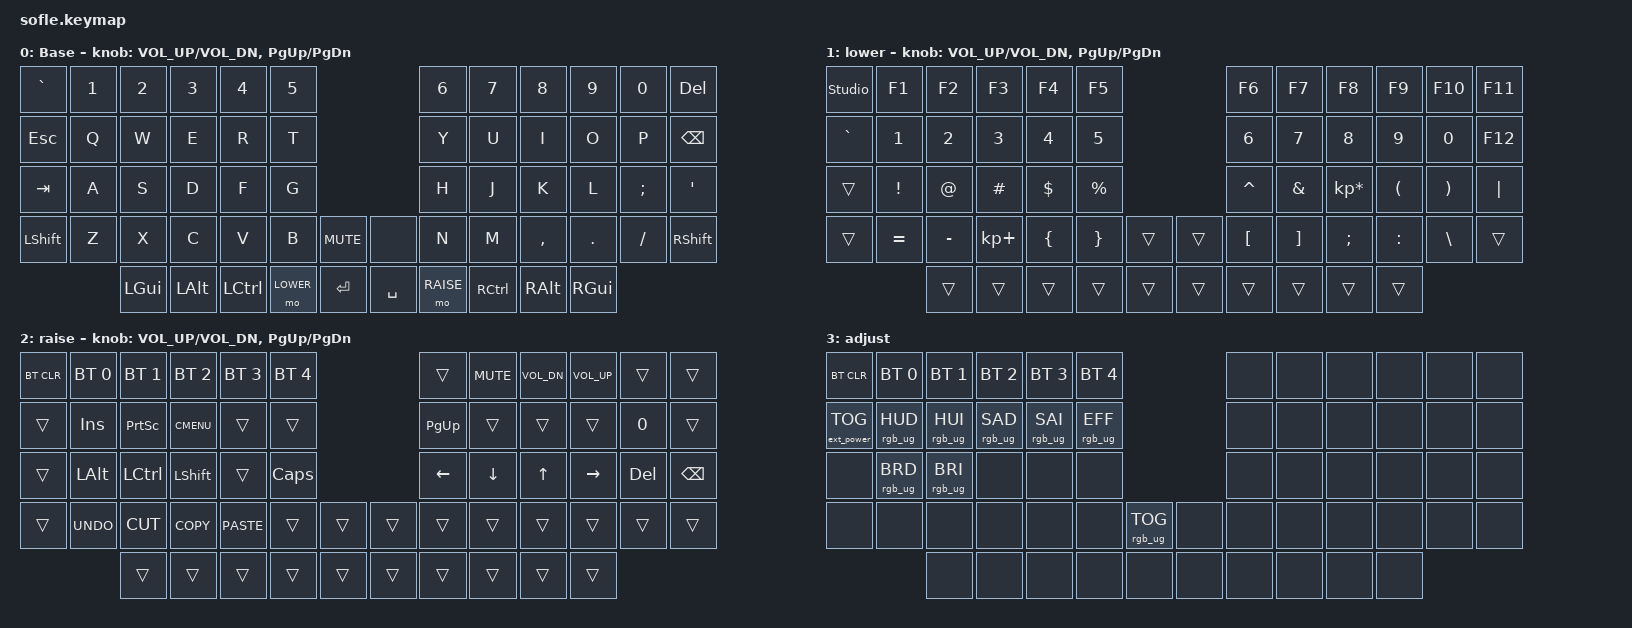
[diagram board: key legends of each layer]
/*
 * Copyright (c) 2020 The ZMK Contributors
 *
 * SPDX-License-Identifier: MIT
 */

#include <behaviors.dtsi>
#include <dt-bindings/zmk/bt.h>
#include <dt-bindings/zmk/ext_power.h>
#include <dt-bindings/zmk/keys.h>
#include <dt-bindings/zmk/rgb.h>

#define BASE 0
#define LOWER 1
#define RAISE 2
#define ADJUST 3

/ {
    // Activate ADJUST layer by pressing raise and lower

    conditional_layers {
        compatible = "zmk,conditional-layers";

        adjust_layer {
            if-layers = <LOWER RAISE>;
            then-layer = <ADJUST>;
        };
    };

    keymap {
        compatible = "zmk,keymap";

        default_layer {
            display-name = "Base";
            bindings = <
// ------------------------------------------------------------------------------------------------------------------------------------------------------------------------------
// |     `      |     1     |     2     |     3     |     4     |     5     |                           |     6     |     7     |     8     |     9     |     0     |    Del    |
     &kp GRAVE     &kp N1       &kp N2     &kp N3      &kp N4      &kp N5                                   &kp N6      &kp N7      &kp N8      &kp N9      &kp N0    &kp DELETE
// ------------------------------------------------------------------------------------------------------------------------------------------------------------------------------
// |    ESC     |     Q     |     W     |     E     |     R     |     T     |                           |     Y     |     U     |     I     |     O     |     P     |   BKSPC   |
     &kp ESC       &kp Q        &kp W       &kp E       &kp R       &kp T                                   &kp Y       &kp U       &kp I       &kp O       &kp P     &kp BACKSPACE
// ------------------------------------------------------------------------------------------------------------------------------------------------------------------------------
// |    TAB     |     A     |     S     |     D     |     F     |     G     |                           |     H     |     J     |     K     |     L     |     ;     |    '      |
     &kp TAB       &kp A        &kp S       &kp D       &kp F       &kp G                                   &kp H       &kp J       &kp K        &kp L     &kp SEMI    &kp SQT
// -------------------------------------------------------------------------------------------------------------------------------------------------------------------------------
// |    LSHFT   |     Z     |     X     |     C     |     V     |     B     |   MUTE    |  |            |     N     |     M     |     ,     |     .     |     /     |    RSHFT   |
     &kp LSHFT     &kp Z        &kp X       &kp C       &kp V       &kp B    &kp C_MUTE        &none        &kp N       &kp M     &kp COMMA    &kp DOT     &kp FSLH    &kp RSHFT
// -------------------------------------------------------------------------------------------------------------------------------------------------------------------------------
//                          |    GUI    |     ALT   |   CTRL   |    LOWER   |    RET    |  |   SPACE    |   RAISE   |    CTRL   |    ALT    |    GUI    |
                              &kp LGUI    &kp LALT    &kp LCTRL  &mo LOWER     &kp RET       &kp SPACE    &mo RAISE   &kp RCTRL   &kp RALT     &kp RGUI
            >;

            sensor-bindings = <&inc_dec_kp C_VOL_UP C_VOL_DN &inc_dec_kp PG_UP PG_DN>;
        };

        lower_layer {
            label = "lower";
            bindings = <

// -------------------------------------------------------------------------------------------------------------------------------------------------------------------------------
// |             |    F1    |    F2     |    F3    |    F4     |    F5     |                            |     F6    |     F7    |    F8     |    F9    |    F10     |    F11    |
   &studio_unlock   &kp F1     &kp F2      &kp F3     &kp F4      &kp F5                                   &kp F6      &kp F7      &kp F8      &kp F9      &kp F10     &kp F11
// -------------------------------------------------------------------------------------------------------------------------------------------------------------------------------
// |     `       |     1    |     2    |     3     |     4     |     5     |                            |     6     |     7     |     8     |     9    |     0     |    F12     |
     &kp GRAVE      &kp N1     &kp N2      &kp N3     &kp N4      &kp N5                                   &kp N6      &kp N7      &kp N8      &kp N9      &kp N0      &kp F12
// -------------------------------------------------------------------------------------------------------------------------------------------------------------------------------
// |             |     !    |     @    |     #     |     $     |     %     |                            |     ^     |     &     |     *     |    (     |     )     |      |     |
      &trans       &kp EXCL    &kp AT     &kp HASH   &kp DLLR    &kp PRCNT                                &kp CARET   &kp AMPS &kp KP_MULTIPLY &kp LPAR   &kp RPAR    &kp PIPE
// -------------------------------------------------------------------------------------------------------------------------------------------------------------------------------
// |             |     =    |     -    |     +     |     {     |     }     |            |  |            |     [     |     ]     |     ;     |     :    |     \     |            |
      &trans      &kp EQUAL   &kp MINUS &kp KP_PLUS  &kp LBRC    &kp RBRC      &trans          &trans     &kp LBKT    &kp RBKT     &kp SEMI   &kp COLON  &kp BSLH     &trans
// -------------------------------------------------------------------------------------------------------------------------------------------------------------------------------
//                          |          |           |           |           |            |  |            |           |           |           |          |
                               &trans     &trans      &trans      &trans       &trans          &trans       &trans      &trans      &trans    &trans
            >;

            sensor-bindings = <&inc_dec_kp C_VOL_UP C_VOL_DN &inc_dec_kp PG_UP PG_DN>;
        };

        raise_layer {
            label = "raise";

            // ------------------------------------------------------------------------------------------------------------
            // | BTCLR | BT1  | BT2  |  BT3  |  BT4  |  BT5 |                |      |      |       |      |       |       |
            // |       | INS  | PSCR | GUI   |       |      |                | PGUP |      |   ^   |      |       |       |
            // |       | ALT  | CTRL | SHIFT |       | CAPS |                | PGDN |   <- |   v   |  ->  |  DEL  | BKSPC |
            // |       | UNDO | CUT  | COPY  | PASTE |      |      |  |      |      |      |       |      |       |       |
            //                |      |       |       |      |      |  |      |      |      |       |      |

            bindings = <
&bt BT_CLR  &bt BT_SEL 0  &bt BT_SEL 1  &bt BT_SEL 2  &bt BT_SEL 3  &bt BT_SEL 4                    &trans     &kp C_MUTE    &kp C_VOL_DN  &kp C_VOL_UP     &trans   &trans
&trans      &kp INS       &kp PSCRN     &kp K_CMENU   &trans        &trans                          &kp PG_UP  &trans    &trans    &trans     &kp N0   &trans
&trans      &kp LALT      &kp LCTRL     &kp LSHFT     &trans        &kp CLCK                        &kp LEFT   &kp DOWN  &kp UP   &kp RIGHT  &kp DEL  &kp BSPC
&trans      &kp K_UNDO    &kp K_CUT     &kp K_COPY    &kp K_PASTE   &trans        &trans    &trans  &trans     &trans    &trans    &trans     &trans   &trans
                          &trans        &trans        &trans        &trans        &trans    &trans  &trans     &trans    &trans    &trans
            >;

            sensor-bindings = <&inc_dec_kp C_VOL_UP C_VOL_DN &inc_dec_kp PG_UP PG_DN>;
        };

        adjust_layer {
            // ----------------------------------------------------------------------------------------------------------------------------
            // | BTCLR  |  BT1    |  BT2    |   BT3   |   BT4   |   BT5   |                  |      |      |       |      |       |       |
            // | EXTPWR | RGB_HUD | RGB_HUI | RGB_SAD | RGB_SAI | RGB_EFF |                  |      |      |       |      |       |       |
            // |        | RGB_BRD | RGB_BRI |         |         |         |                  |      |      |       |      |       |       |
            // |        |         |         |         |         |         | RGB_TOG | |      |      |      |       |      |       |       |
            //                    |         |         |         |         |         | |      |      |      |       |      |

            label = "adjust";
            bindings = <
&bt BT_CLR         &bt BT_SEL 0     &bt BT_SEL 1     &bt BT_SEL 2     &bt BT_SEL 3     &bt BT_SEL 4                               &none  &none  &none  &none  &none  &none
&ext_power EP_TOG  &rgb_ug RGB_HUD  &rgb_ug RGB_HUI  &rgb_ug RGB_SAD  &rgb_ug RGB_SAI  &rgb_ug RGB_EFF                            &none  &none  &none  &none  &none  &none
&none              &rgb_ug RGB_BRD  &rgb_ug RGB_BRI  &none            &none            &none                                      &none  &none  &none  &none  &none  &none
&none              &none            &none            &none            &none            &none            &rgb_ug RGB_TOG    &none  &none  &none  &none  &none  &none  &none
                                    &none            &none            &none            &none            &none              &none  &none  &none  &none  &none
            >;
        };
    };
};
